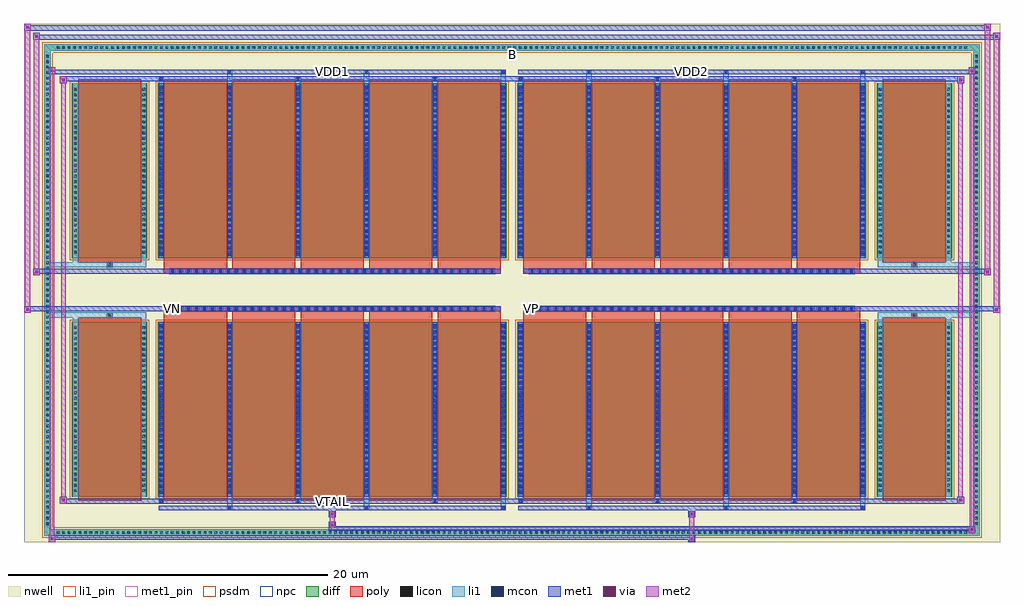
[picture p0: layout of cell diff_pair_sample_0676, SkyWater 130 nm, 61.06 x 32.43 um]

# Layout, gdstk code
import gdstk
lib = gdstk.Library(unit=1e-6, precision=5e-09)
def R(c, l, rs):  # rectangles x0, y0, x1, y1
    for r in rs: c.add(gdstk.rectangle(r[:2], r[2:], *l))
def A(c, l, x, y, w, h, nx, ny, dx, dy):  # array of equal rectangles
    R(c, l, [(x+i*dx, y+j*dy, x+i*dx+w, y+j*dy+h) for i in range(nx) for j in range(ny)])
def P(c, l, *ps):  # polygons
    for p in ps: c.add(gdstk.Polygon(p, *l))
nwell = (64, 20)
diff = (65, 20)
poly = (66, 20)
licon = (66, 44)
li1_pin = (67, 16)
li1 = (67, 20)
mcon = (67, 44)
met1_pin = (68, 16)
met1 = (68, 20)
via = (68, 44)
met2 = (69, 20)
psdm = (94, 20)
npc = (95, 20)

diff_pair_sample_0676 = lib.new_cell('diff_pair_sample_0676')
R(diff_pair_sample_0676, nwell, [(-30.53,-15.78,30.53,16.65), (-27.85,-13.97,-0.01,-0.805), (0.01,-13.97,27.85,-0.805), (-27.85,0.805,-0.01,13.97), (0.01,0.805,27.85,13.97)])
A(diff_pair_sample_0676, diff, -28.595, -15.38, 0.41, 0.41, 168, 2, 0.34, 30.35)
A(diff_pair_sample_0676, diff, -29.26, -14.825, 0.41, 0.41, 1, 87, 0, 0.34)
A(diff_pair_sample_0676, diff, 28.85, -14.825, 0.41, 0.41, 1, 87, 0, 0.34)
R(diff_pair_sample_0676, diff, [(-28.595,-15.38,28.595,-14.97), (-29.26,-14.825,-28.85,14.825), (28.85,-14.825,29.26,14.825), (-27.54,-12.925,-22.81,-1.985), (-22.17,-12.925,-0.32,-1.985), (0.32,-12.925,22.17,-1.985), (22.81,-12.925,27.54,-1.985), (-27.54,1.985,-22.81,12.925), (-22.17,1.985,-0.32,12.925), (0.32,1.985,22.17,12.925), (22.81,1.985,27.54,12.925), (-28.595,14.97,28.595,15.38)])
P(diff_pair_sample_0676, diff, [(29.26,15.38),(-29.26,15.38),(-29.26,-14.97),(-28.85,-14.97),(-28.85,14.97),(28.85,14.97),(28.85,-14.97),(-28.85,-14.97),(-29.26,-14.97),(-29.26,-15.38),(29.26,-15.38)])
A(diff_pair_sample_0676, poly, -21.78, -13.175, 3.95, 11.44, 5, 2, 4.28, 14.91)
A(diff_pair_sample_0676, poly, 0.71, -13.175, 3.95, 11.44, 5, 2, 4.28, 14.91)
A(diff_pair_sample_0676, poly, -21.78, -1.735, 3.95, 0.4, 5, 2, 4.28, 3.07)
A(diff_pair_sample_0676, poly, 0.71, -1.735, 3.95, 0.4, 5, 2, 4.28, 3.07)
A(diff_pair_sample_0676, poly, -21.41, -1.335, 0.33, 0.33, 41, 2, 0.5, 2.34)
A(diff_pair_sample_0676, poly, 1.08, -1.335, 0.33, 0.33, 41, 2, 0.5, 2.34)
R(diff_pair_sample_0676, poly, [(-27.15,-13.175,-23.2,-1.735), (23.2,-13.175,27.15,-1.735), (-25.34,-1.735,-25.01,-1.405), (-25.34,-1.735,-25.01,-1.405), (25.01,-1.735,25.34,-1.405), (25.01,-1.735,25.34,-1.405), (-21.78,-1.335,-0.71,-1.005), (0.71,-1.335,21.78,-1.005), (-21.78,1.005,-0.71,1.335), (0.71,1.005,21.78,1.335), (-25.34,1.405,-25.01,1.735), (-25.34,1.405,-25.01,1.735), (25.01,1.405,25.34,1.735), (25.01,1.405,25.34,1.735), (-27.15,1.735,-23.2,13.175), (23.2,1.735,27.15,13.175)])
A(diff_pair_sample_0676, licon, -28.475, -15.26, 0.17, 0.17, 168, 2, 0.34, 30.35)
A(diff_pair_sample_0676, licon, -29.14, -14.705, 0.17, 0.17, 1, 87, 0, 0.34)
A(diff_pair_sample_0676, licon, 28.97, -14.705, 0.17, 0.17, 1, 87, 0, 0.34)
A(diff_pair_sample_0676, licon, -27.4, -12.64, 0.17, 0.17, 1, 31, 0, 0.34)
A(diff_pair_sample_0676, licon, -23.12, -12.64, 0.17, 0.17, 1, 31, 0, 0.34)
A(diff_pair_sample_0676, licon, -22.03, -12.64, 0.17, 0.17, 6, 31, 4.28, 0.34)
A(diff_pair_sample_0676, licon, 0.46, -12.64, 0.17, 0.17, 6, 31, 4.28, 0.34)
A(diff_pair_sample_0676, licon, 22.95, -12.64, 0.17, 0.17, 1, 31, 0, 0.34)
A(diff_pair_sample_0676, licon, 27.23, -12.64, 0.17, 0.17, 1, 31, 0, 0.34)
A(diff_pair_sample_0676, licon, -21.33, -1.255, 0.17, 0.17, 41, 2, 0.5, 2.34)
A(diff_pair_sample_0676, licon, 1.16, -1.255, 0.17, 0.17, 41, 2, 0.5, 2.34)
A(diff_pair_sample_0676, licon, -27.4, 2.27, 0.17, 0.17, 1, 31, 0, 0.34)
A(diff_pair_sample_0676, licon, -23.12, 2.27, 0.17, 0.17, 1, 31, 0, 0.34)
A(diff_pair_sample_0676, licon, -22.03, 2.27, 0.17, 0.17, 6, 31, 4.28, 0.34)
A(diff_pair_sample_0676, licon, 0.46, 2.27, 0.17, 0.17, 6, 31, 4.28, 0.34)
A(diff_pair_sample_0676, licon, 22.95, 2.27, 0.17, 0.17, 1, 31, 0, 0.34)
A(diff_pair_sample_0676, licon, 27.23, 2.27, 0.17, 0.17, 1, 31, 0, 0.34)
R(diff_pair_sample_0676, licon, [(-25.26,-1.655,-25.09,-1.485), (25.09,-1.655,25.26,-1.485), (-25.26,1.485,-25.09,1.655), (25.09,1.485,25.26,1.655)])
R(diff_pair_sample_0676, li1_pin, [(-0.25,14.47,0.25,14.97)])
A(diff_pair_sample_0676, li1, -28.555, -15.34, 0.33, 0.33, 168, 2, 0.34, 30.35)
A(diff_pair_sample_0676, li1, -29.22, -14.785, 0.33, 0.33, 1, 87, 0, 0.34)
A(diff_pair_sample_0676, li1, 28.89, -14.785, 0.33, 0.33, 1, 87, 0, 0.34)
A(diff_pair_sample_0676, li1, -17.83, -13.73, 0.33, 0.805, 3, 2, 8.56, 26.655)
A(diff_pair_sample_0676, li1, -17.75, -13.73, 0.17, 0.17, 3, 2, 8.56, 27.29)
A(diff_pair_sample_0676, li1, 4.66, -13.73, 0.33, 0.805, 3, 2, 8.56, 26.655)
A(diff_pair_sample_0676, li1, 4.74, -13.73, 0.17, 0.17, 3, 2, 8.56, 27.29)
A(diff_pair_sample_0676, li1, -22.11, -13.3, 0.33, 0.375, 3, 2, 8.56, 26.225)
A(diff_pair_sample_0676, li1, -22.03, -13.3, 0.17, 0.17, 3, 2, 8.56, 26.43)
A(diff_pair_sample_0676, li1, 0.38, -13.3, 0.33, 0.375, 3, 2, 8.56, 26.225)
A(diff_pair_sample_0676, li1, 0.46, -13.3, 0.17, 0.17, 3, 2, 8.56, 26.43)
A(diff_pair_sample_0676, li1, -22.11, -12.925, 0.33, 10.94, 6, 2, 4.28, 14.91)
A(diff_pair_sample_0676, li1, 0.38, -12.925, 0.33, 10.94, 6, 2, 4.28, 14.91)
A(diff_pair_sample_0676, li1, -22.03, -12.76, 0.17, 0.17, 6, 30, 4.28, 0.36)
A(diff_pair_sample_0676, li1, -22.03, -12.76, 0.17, 10.61, 6, 2, 4.28, 14.91)
A(diff_pair_sample_0676, li1, 0.46, -12.76, 0.17, 0.17, 6, 30, 4.28, 0.36)
A(diff_pair_sample_0676, li1, 0.46, -12.76, 0.17, 10.61, 6, 2, 4.28, 14.91)
A(diff_pair_sample_0676, li1, -27.48, -12.72, 0.33, 0.33, 1, 31, 0, 0.34)
A(diff_pair_sample_0676, li1, -23.2, -12.72, 0.33, 0.33, 1, 31, 0, 0.34)
A(diff_pair_sample_0676, li1, -22.11, -12.72, 0.33, 0.33, 6, 31, 4.28, 0.34)
A(diff_pair_sample_0676, li1, 0.38, -12.72, 0.33, 0.33, 6, 31, 4.28, 0.34)
A(diff_pair_sample_0676, li1, 22.87, -12.72, 0.33, 0.33, 1, 31, 0, 0.34)
A(diff_pair_sample_0676, li1, 27.15, -12.72, 0.33, 0.33, 1, 31, 0, 0.34)
A(diff_pair_sample_0676, li1, -21.41, -1.335, 0.33, 0.33, 41, 2, 0.5, 2.34)
A(diff_pair_sample_0676, li1, 1.08, -1.335, 0.33, 0.33, 41, 2, 0.5, 2.34)
A(diff_pair_sample_0676, li1, -22.03, 2.15, 0.17, 0.17, 6, 30, 4.28, 0.36)
A(diff_pair_sample_0676, li1, 0.46, 2.15, 0.17, 0.17, 6, 30, 4.28, 0.36)
A(diff_pair_sample_0676, li1, -27.48, 2.19, 0.33, 0.33, 1, 31, 0, 0.34)
A(diff_pair_sample_0676, li1, -23.2, 2.19, 0.33, 0.33, 1, 31, 0, 0.34)
A(diff_pair_sample_0676, li1, -22.11, 2.19, 0.33, 0.33, 6, 31, 4.28, 0.34)
A(diff_pair_sample_0676, li1, 0.38, 2.19, 0.33, 0.33, 6, 31, 4.28, 0.34)
A(diff_pair_sample_0676, li1, 22.87, 2.19, 0.33, 0.33, 1, 31, 0, 0.34)
A(diff_pair_sample_0676, li1, 27.15, 2.19, 0.33, 0.33, 1, 31, 0, 0.34)
R(diff_pair_sample_0676, li1, [(-29.26,-15.38,-28.85,-14.97), (-29.26,-15.38,-28.85,-14.97), (-28.85,-15.38,28.85,-14.97), (28.85,-15.38,29.26,-14.97), (28.85,-15.38,29.26,-14.97), (-29.26,-14.97,-28.85,14.97), (28.85,-14.97,29.26,14.97), (-27.48,-12.925,-27.15,-1.985), (-23.2,-12.925,-22.87,-1.985), (22.87,-12.925,23.2,-1.985), (27.15,-12.925,27.48,-1.985), (-27.48,-1.985,-27.15,-1.405), (-23.2,-1.985,-22.87,-1.405), (22.87,-1.985,23.2,-1.405), (27.15,-1.985,27.48,-1.405), (-29.26,-1.735,-25.34,-1.405), (-27.48,-1.735,-25.34,-1.405), (-25.34,-1.735,-25.01,-1.405), (-25.01,-1.735,-22.87,-1.405), (22.87,-1.735,25.01,-1.405), (25.01,-1.735,25.34,-1.405), (25.01,-1.735,29.26,-1.405), (25.34,-1.735,27.48,-1.405), (-29.26,1.405,-25.34,1.735), (-27.48,1.405,-25.34,1.735), (-27.48,1.405,-27.15,1.985), (-25.34,1.405,-25.01,1.735), (-25.01,1.405,-22.87,1.735), (-23.2,1.405,-22.87,1.985), (22.87,1.405,25.01,1.735), (22.87,1.405,23.2,1.985), (25.01,1.405,25.34,1.735), (25.01,1.405,29.26,1.735), (25.34,1.405,27.48,1.735), (27.15,1.405,27.48,1.985), (-27.48,1.985,-27.15,12.925), (-23.2,1.985,-22.87,12.925), (22.87,1.985,23.2,12.925), (27.15,1.985,27.48,12.925), (-29.26,14.97,-28.85,15.38), (-29.26,14.97,-28.85,15.38), (-28.85,14.97,28.85,15.38), (28.85,14.97,29.26,15.38), (28.85,14.97,29.26,15.38)])
A(diff_pair_sample_0676, mcon, -17.75, -13.73, 0.17, 0.17, 3, 2, 8.56, 27.29)
A(diff_pair_sample_0676, mcon, 4.74, -13.73, 0.17, 0.17, 3, 2, 8.56, 27.29)
A(diff_pair_sample_0676, mcon, -22.03, -13.3, 0.17, 0.17, 3, 2, 8.56, 26.43)
A(diff_pair_sample_0676, mcon, 0.46, -13.3, 0.17, 0.17, 3, 2, 8.56, 26.43)
A(diff_pair_sample_0676, mcon, -22.03, -12.76, 0.17, 0.17, 6, 30, 4.28, 0.36)
A(diff_pair_sample_0676, mcon, 0.46, -12.76, 0.17, 0.17, 6, 30, 4.28, 0.36)
A(diff_pair_sample_0676, mcon, -21.33, -1.255, 0.17, 0.17, 41, 2, 0.5, 2.34)
A(diff_pair_sample_0676, mcon, 1.16, -1.255, 0.17, 0.17, 41, 2, 0.5, 2.34)
A(diff_pair_sample_0676, mcon, -22.03, 2.15, 0.17, 0.17, 6, 30, 4.28, 0.36)
A(diff_pair_sample_0676, mcon, 0.46, 2.15, 0.17, 0.17, 6, 30, 4.28, 0.36)
R(diff_pair_sample_0676, met1_pin, [(-11.38,-13.34,-11.11,-13.07), (-21.38,-1.295,-21.11,-1.025), (1.11,-1.295,1.38,-1.025), (-11.38,13.52,-11.11,13.79), (11.11,13.52,11.38,13.79)])
A(diff_pair_sample_0676, met1, -17.81, -13.79, 0.29, 0.29, 3, 2, 8.56, 27.29)
A(diff_pair_sample_0676, met1, 4.68, -13.79, 0.29, 0.29, 3, 2, 8.56, 27.29)
A(diff_pair_sample_0676, met1, -22.09, -13.36, 0.29, 0.29, 3, 2, 8.56, 26.43)
A(diff_pair_sample_0676, met1, 0.4, -13.36, 0.29, 0.29, 3, 2, 8.56, 26.43)
A(diff_pair_sample_0676, met1, -22.09, -12.925, 0.29, 10.94, 6, 2, 4.28, 14.91)
A(diff_pair_sample_0676, met1, 0.4, -12.925, 0.29, 10.94, 6, 2, 4.28, 14.91)
A(diff_pair_sample_0676, met1, -22.09, -12.82, 0.29, 0.29, 6, 30, 4.28, 0.36)
A(diff_pair_sample_0676, met1, 0.4, -12.82, 0.29, 0.29, 6, 30, 4.28, 0.36)
A(diff_pair_sample_0676, met1, -21.39, -1.315, 0.29, 0.29, 41, 2, 0.5, 2.34)
A(diff_pair_sample_0676, met1, 1.1, -1.315, 0.29, 0.29, 41, 2, 0.5, 2.34)
A(diff_pair_sample_0676, met1, -22.09, 2.09, 0.29, 0.29, 6, 30, 4.28, 0.36)
A(diff_pair_sample_0676, met1, 0.4, 2.09, 0.29, 0.29, 6, 30, 4.28, 0.36)
R(diff_pair_sample_0676, met1, [(-28.99,-15.78,-28.56,-15.35), (11.03,-15.78,11.46,-15.35), (-28.99,-15.64,11.46,-15.35), (28.56,-15.21,28.99,-14.78), (-11.46,-15.07,28.99,-14.78), (-11.46,-14.93,-11.03,-14.5), (-11.46,-14.22,-11.03,-13.79), (11.03,-14.22,11.46,-13.79), (-22.09,-13.79,-0.4,-13.5), (0.4,-13.79,22.09,-13.5), (-28.28,-13.36,-27.85,-12.93), (-28.28,-13.36,-22.09,-13.07), (-22.09,-13.36,-0.4,-13.07), (-0.4,-13.36,0.4,-13.07), (0.4,-13.36,22.09,-13.07), (22.09,-13.36,28.28,-13.07), (27.85,-13.36,28.28,-12.93), (-30.53,-1.435,-30.1,-1.005), (30.1,-1.435,30.53,-1.005), (-30.53,-1.335,-0.71,-1.005), (-21.78,-1.335,-0.71,-1.005), (0.71,-1.335,21.78,-1.005), (0.71,-1.335,30.53,-1.005), (-29.96,0.905,-29.53,1.335), (29.53,0.905,29.96,1.335), (-29.96,1.005,-21.78,1.335), (-21.78,1.005,-0.71,1.335), (0.71,1.005,21.78,1.335), (21.78,1.005,29.96,1.335), (-28.28,12.93,-27.85,13.36), (27.85,12.93,28.28,13.36), (-28.28,13.07,-22.09,13.36), (-22.09,13.07,-0.4,13.36), (-0.4,13.07,0.4,13.36), (0.4,13.07,22.09,13.36), (22.09,13.07,28.28,13.36), (-28.99,13.5,-28.56,13.93), (-28.99,13.5,-22.09,13.79), (-22.09,13.5,-0.4,13.79), (0.4,13.5,22.09,13.79), (22.09,13.5,28.99,13.79), (28.56,13.5,28.99,13.93), (-29.96,15.65,-29.53,16.08), (-29.96,15.65,-27.85,15.98), (-27.85,15.65,27.85,15.98), (27.85,15.65,30.53,15.98), (30.1,15.65,30.53,16.08), (-30.53,16.22,-30.1,16.65), (-30.53,16.22,-27.85,16.55), (-27.85,16.22,27.85,16.55), (27.85,16.22,29.96,16.55), (29.53,16.22,29.96,16.65)])
R(diff_pair_sample_0676, via, [(-28.85,-15.64,-28.7,-15.49), (11.17,-15.64,11.32,-15.49), (28.7,-15.07,28.85,-14.92), (-11.32,-14.79,-11.17,-14.64), (-11.32,-14.08,-11.17,-13.93), (11.17,-14.08,11.32,-13.93), (-28.14,-13.22,-27.99,-13.07), (27.99,-13.22,28.14,-13.07), (-30.39,-1.295,-30.24,-1.145), (30.24,-1.295,30.39,-1.145), (-29.82,1.045,-29.67,1.195), (29.67,1.045,29.82,1.195), (-28.14,13.07,-27.99,13.22), (27.99,13.07,28.14,13.22), (-28.85,13.64,-28.7,13.79), (28.7,13.64,28.85,13.79), (-29.82,15.79,-29.67,15.94), (30.24,15.79,30.39,15.94), (-30.39,16.36,-30.24,16.51), (29.67,16.36,29.82,16.51)])
R(diff_pair_sample_0676, met2, [(-28.99,-15.78,-28.56,-15.35), (-28.92,-15.78,-28.63,13.93), (-28.63,-15.78,-28.56,-15.35), (-28.94,-15.73,-28.61,-15.4), (11.08,-15.73,11.41,-15.4), (11.08,-15.4,11.41,-14.17), (28.56,-15.21,28.99,-14.78), (28.63,-15.21,28.92,13.93), (28.92,-15.21,28.99,-14.78), (28.61,-15.16,28.94,-14.83), (-11.41,-14.88,-11.08,-14.55), (-11.41,-14.55,-11.08,-14.17), (-11.41,-14.17,-11.08,-13.84), (11.08,-14.17,11.41,-13.84), (-28.28,-13.36,-27.85,-12.93), (-28.21,-13.36,-27.92,13.36), (-27.92,-13.36,-27.85,-12.93), (27.85,-13.36,28.28,-12.93), (27.92,-13.36,28.21,13.36), (28.21,-13.36,28.28,-12.93), (-28.23,-13.31,-27.9,-12.98), (27.9,-13.31,28.23,-12.98), (-30.53,-1.435,-30.1,-1.005), (-30.48,-1.435,-30.15,16.65), (-30.15,-1.435,-30.1,-1.005), (30.1,-1.435,30.53,-1.005), (30.15,-1.435,30.48,16.08), (30.48,-1.435,30.53,-1.005), (-30.48,-1.385,-30.15,-1.055), (30.15,-1.385,30.48,-1.055), (-29.96,0.905,-29.53,1.335), (-29.91,0.905,-29.58,16.08), (-29.58,0.905,-29.53,1.335), (29.53,0.905,29.96,1.335), (29.58,0.905,29.91,16.65), (29.91,0.905,29.96,1.335), (-29.91,0.955,-29.58,1.285), (29.58,0.955,29.91,1.285), (-28.28,12.93,-27.85,13.36), (-27.92,12.93,-27.85,13.36), (27.85,12.93,28.28,13.36), (28.21,12.93,28.28,13.36), (-28.23,12.98,-27.9,13.31), (27.9,12.98,28.23,13.31), (-28.99,13.5,-28.56,13.93), (-28.63,13.5,-28.56,13.93), (28.56,13.5,28.99,13.93), (28.92,13.5,28.99,13.93), (-28.94,13.55,-28.61,13.88), (28.61,13.55,28.94,13.88), (-29.96,15.65,-29.53,16.08), (-29.58,15.65,-29.53,16.08), (30.1,15.65,30.53,16.08), (30.48,15.65,30.53,16.08), (-29.91,15.7,-29.58,16.03), (30.15,15.7,30.48,16.03), (-30.53,16.22,-30.1,16.65), (-30.15,16.22,-30.1,16.65), (29.53,16.22,29.96,16.65), (29.91,16.22,29.96,16.65), (-30.48,16.27,-30.15,16.6), (29.58,16.27,29.91,16.6)])
R(diff_pair_sample_0676, psdm, [(-27.67,-13.055,-22.68,-1.855), (-22.3,-13.055,-0.19,-1.855), (0.19,-13.055,22.3,-1.855), (22.68,-13.055,27.67,-1.855), (-27.67,1.855,-22.68,13.055), (-22.3,1.855,-0.19,13.055), (0.19,1.855,22.3,13.055), (22.68,1.855,27.67,13.055)])
P(diff_pair_sample_0676, psdm, [(29.39,15.51),(-29.39,15.51),(-29.39,-14.84),(-28.72,-14.84),(-28.72,14.84),(28.72,14.84),(28.72,-14.84),(-28.72,-14.84),(-29.39,-14.84),(-29.39,-15.51),(29.39,-15.51)])
A(diff_pair_sample_0676, npc, -21.43, -1.355, 0.37, 0.37, 41, 2, 0.5, 2.34)
A(diff_pair_sample_0676, npc, 1.06, -1.355, 0.37, 0.37, 41, 2, 0.5, 2.34)
R(diff_pair_sample_0676, npc, [(-25.36,-1.755,-24.99,-1.385), (24.99,-1.755,25.36,-1.385), (-21.43,-1.355,-20.56,-0.985), (-21.43,-1.355,-20.56,-0.985), (-20.93,-1.355,-20.06,-0.985), (-20.93,-1.355,-20.06,-0.985), (-20.43,-1.355,-19.56,-0.985), (-20.43,-1.355,-19.56,-0.985), (-19.93,-1.355,-19.06,-0.985), (-19.93,-1.355,-19.06,-0.985), (-19.43,-1.355,-18.56,-0.985), (-19.43,-1.355,-18.56,-0.985), (-18.93,-1.355,-18.06,-0.985), (-18.93,-1.355,-18.06,-0.985), (-18.43,-1.355,-17.56,-0.985), (-18.43,-1.355,-17.56,-0.985), (-17.93,-1.355,-17.06,-0.985), (-17.93,-1.355,-17.06,-0.985), (-17.43,-1.355,-16.56,-0.985), (-17.43,-1.355,-16.56,-0.985), (-16.93,-1.355,-16.06,-0.985), (-16.93,-1.355,-16.06,-0.985), (-16.43,-1.355,-15.56,-0.985), (-16.43,-1.355,-15.56,-0.985), (-15.93,-1.355,-15.06,-0.985), (-15.93,-1.355,-15.06,-0.985), (-15.43,-1.355,-14.56,-0.985), (-15.43,-1.355,-14.56,-0.985), (-14.93,-1.355,-14.06,-0.985), (-14.93,-1.355,-14.06,-0.985), (-14.43,-1.355,-13.56,-0.985), (-14.43,-1.355,-13.56,-0.985), (-13.93,-1.355,-13.06,-0.985), (-13.93,-1.355,-13.06,-0.985), (-13.43,-1.355,-12.56,-0.985), (-13.43,-1.355,-12.56,-0.985), (-12.93,-1.355,-12.06,-0.985), (-12.93,-1.355,-12.06,-0.985), (-12.43,-1.355,-11.56,-0.985), (-12.43,-1.355,-11.56,-0.985), (-11.93,-1.355,-11.06,-0.985), (-11.93,-1.355,-11.06,-0.985), (-11.43,-1.355,-10.56,-0.985), (-11.43,-1.355,-10.56,-0.985), (-10.93,-1.355,-10.06,-0.985), (-10.93,-1.355,-10.06,-0.985), (-10.43,-1.355,-9.56,-0.985), (-10.43,-1.355,-9.56,-0.985), (-9.93,-1.355,-9.06,-0.985), (-9.93,-1.355,-9.06,-0.985), (-9.43,-1.355,-8.56,-0.985), (-9.43,-1.355,-8.56,-0.985), (-8.93,-1.355,-8.06,-0.985), (-8.93,-1.355,-8.06,-0.985), (-8.43,-1.355,-7.56,-0.985), (-8.43,-1.355,-7.56,-0.985), (-7.93,-1.355,-7.06,-0.985), (-7.93,-1.355,-7.06,-0.985), (-7.43,-1.355,-6.56,-0.985), (-7.43,-1.355,-6.56,-0.985), (-6.93,-1.355,-6.06,-0.985), (-6.93,-1.355,-6.06,-0.985), (-6.43,-1.355,-5.56,-0.985), (-6.43,-1.355,-5.56,-0.985), (-5.93,-1.355,-5.06,-0.985), (-5.93,-1.355,-5.06,-0.985), (-5.43,-1.355,-4.56,-0.985), (-5.43,-1.355,-4.56,-0.985), (-4.93,-1.355,-4.06,-0.985), (-4.93,-1.355,-4.06,-0.985), (-4.43,-1.355,-3.56,-0.985), (-4.43,-1.355,-3.56,-0.985), (-3.93,-1.355,-3.06,-0.985), (-3.93,-1.355,-3.06,-0.985), (-3.43,-1.355,-2.56,-0.985), (-3.43,-1.355,-2.56,-0.985), (-2.93,-1.355,-2.06,-0.985), (-2.93,-1.355,-2.06,-0.985), (-2.43,-1.355,-1.56,-0.985), (-2.43,-1.355,-1.56,-0.985), (-1.93,-1.355,-1.06,-0.985), (-1.93,-1.355,-1.06,-0.985), (1.06,-1.355,1.93,-0.985), (1.06,-1.355,1.93,-0.985), (1.56,-1.355,2.43,-0.985), (1.56,-1.355,2.43,-0.985), (2.06,-1.355,2.93,-0.985), (2.06,-1.355,2.93,-0.985), (2.56,-1.355,3.43,-0.985), (2.56,-1.355,3.43,-0.985), (3.06,-1.355,3.93,-0.985), (3.06,-1.355,3.93,-0.985), (3.56,-1.355,4.43,-0.985), (3.56,-1.355,4.43,-0.985), (4.06,-1.355,4.93,-0.985), (4.06,-1.355,4.93,-0.985), (4.56,-1.355,5.43,-0.985), (4.56,-1.355,5.43,-0.985), (5.06,-1.355,5.93,-0.985), (5.06,-1.355,5.93,-0.985), (5.56,-1.355,6.43,-0.985), (5.56,-1.355,6.43,-0.985), (6.06,-1.355,6.93,-0.985), (6.06,-1.355,6.93,-0.985), (6.56,-1.355,7.43,-0.985), (6.56,-1.355,7.43,-0.985), (7.06,-1.355,7.93,-0.985), (7.06,-1.355,7.93,-0.985), (7.56,-1.355,8.43,-0.985), (7.56,-1.355,8.43,-0.985), (8.06,-1.355,8.93,-0.985), (8.06,-1.355,8.93,-0.985), (8.56,-1.355,9.43,-0.985), (8.56,-1.355,9.43,-0.985), (9.06,-1.355,9.93,-0.985), (9.06,-1.355,9.93,-0.985), (9.56,-1.355,10.43,-0.985), (9.56,-1.355,10.43,-0.985), (10.06,-1.355,10.93,-0.985), (10.06,-1.355,10.93,-0.985), (10.56,-1.355,11.43,-0.985), (10.56,-1.355,11.43,-0.985), (11.06,-1.355,11.93,-0.985), (11.06,-1.355,11.93,-0.985), (11.56,-1.355,12.43,-0.985), (11.56,-1.355,12.43,-0.985), (12.06,-1.355,12.93,-0.985), (12.06,-1.355,12.93,-0.985), (12.56,-1.355,13.43,-0.985), (12.56,-1.355,13.43,-0.985), (13.06,-1.355,13.93,-0.985), (13.06,-1.355,13.93,-0.985), (13.56,-1.355,14.43,-0.985), (13.56,-1.355,14.43,-0.985), (14.06,-1.355,14.93,-0.985), (14.06,-1.355,14.93,-0.985), (14.56,-1.355,15.43,-0.985), (14.56,-1.355,15.43,-0.985), (15.06,-1.355,15.93,-0.985), (15.06,-1.355,15.93,-0.985), (15.56,-1.355,16.43,-0.985), (15.56,-1.355,16.43,-0.985), (16.06,-1.355,16.93,-0.985), (16.06,-1.355,16.93,-0.985), (16.56,-1.355,17.43,-0.985), (16.56,-1.355,17.43,-0.985), (17.06,-1.355,17.93,-0.985), (17.06,-1.355,17.93,-0.985), (17.56,-1.355,18.43,-0.985), (17.56,-1.355,18.43,-0.985), (18.06,-1.355,18.93,-0.985), (18.06,-1.355,18.93,-0.985), (18.56,-1.355,19.43,-0.985), (18.56,-1.355,19.43,-0.985), (19.06,-1.355,19.93,-0.985), (19.06,-1.355,19.93,-0.985), (19.56,-1.355,20.43,-0.985), (19.56,-1.355,20.43,-0.985), (20.06,-1.355,20.93,-0.985), (20.06,-1.355,20.93,-0.985), (20.56,-1.355,21.43,-0.985), (20.56,-1.355,21.43,-0.985), (-21.43,0.985,-20.56,1.355), (-21.43,0.985,-20.56,1.355), (-20.93,0.985,-20.06,1.355), (-20.93,0.985,-20.06,1.355), (-20.43,0.985,-19.56,1.355), (-20.43,0.985,-19.56,1.355), (-19.93,0.985,-19.06,1.355), (-19.93,0.985,-19.06,1.355), (-19.43,0.985,-18.56,1.355), (-19.43,0.985,-18.56,1.355), (-18.93,0.985,-18.06,1.355), (-18.93,0.985,-18.06,1.355), (-18.43,0.985,-17.56,1.355), (-18.43,0.985,-17.56,1.355), (-17.93,0.985,-17.06,1.355), (-17.93,0.985,-17.06,1.355), (-17.43,0.985,-16.56,1.355), (-17.43,0.985,-16.56,1.355), (-16.93,0.985,-16.06,1.355), (-16.93,0.985,-16.06,1.355), (-16.43,0.985,-15.56,1.355), (-16.43,0.985,-15.56,1.355), (-15.93,0.985,-15.06,1.355), (-15.93,0.985,-15.06,1.355), (-15.43,0.985,-14.56,1.355), (-15.43,0.985,-14.56,1.355), (-14.93,0.985,-14.06,1.355), (-14.93,0.985,-14.06,1.355), (-14.43,0.985,-13.56,1.355), (-14.43,0.985,-13.56,1.355), (-13.93,0.985,-13.06,1.355), (-13.93,0.985,-13.06,1.355), (-13.43,0.985,-12.56,1.355), (-13.43,0.985,-12.56,1.355), (-12.93,0.985,-12.06,1.355), (-12.93,0.985,-12.06,1.355), (-12.43,0.985,-11.56,1.355), (-12.43,0.985,-11.56,1.355), (-11.93,0.985,-11.06,1.355), (-11.93,0.985,-11.06,1.355), (-11.43,0.985,-10.56,1.355), (-11.43,0.985,-10.56,1.355), (-10.93,0.985,-10.06,1.355), (-10.93,0.985,-10.06,1.355), (-10.43,0.985,-9.56,1.355), (-10.43,0.985,-9.56,1.355), (-9.93,0.985,-9.06,1.355), (-9.93,0.985,-9.06,1.355), (-9.43,0.985,-8.56,1.355), (-9.43,0.985,-8.56,1.355), (-8.93,0.985,-8.06,1.355), (-8.93,0.985,-8.06,1.355), (-8.43,0.985,-7.56,1.355), (-8.43,0.985,-7.56,1.355), (-7.93,0.985,-7.06,1.355), (-7.93,0.985,-7.06,1.355), (-7.43,0.985,-6.56,1.355), (-7.43,0.985,-6.56,1.355), (-6.93,0.985,-6.06,1.355), (-6.93,0.985,-6.06,1.355), (-6.43,0.985,-5.56,1.355), (-6.43,0.985,-5.56,1.355), (-5.93,0.985,-5.06,1.355), (-5.93,0.985,-5.06,1.355), (-5.43,0.985,-4.56,1.355), (-5.43,0.985,-4.56,1.355), (-4.93,0.985,-4.06,1.355), (-4.93,0.985,-4.06,1.355), (-4.43,0.985,-3.56,1.355), (-4.43,0.985,-3.56,1.355), (-3.93,0.985,-3.06,1.355), (-3.93,0.985,-3.06,1.355), (-3.43,0.985,-2.56,1.355), (-3.43,0.985,-2.56,1.355), (-2.93,0.985,-2.06,1.355), (-2.93,0.985,-2.06,1.355), (-2.43,0.985,-1.56,1.355), (-2.43,0.985,-1.56,1.355), (-1.93,0.985,-1.06,1.355), (-1.93,0.985,-1.06,1.355), (1.06,0.985,1.93,1.355), (1.06,0.985,1.93,1.355), (1.56,0.985,2.43,1.355), (1.56,0.985,2.43,1.355), (2.06,0.985,2.93,1.355), (2.06,0.985,2.93,1.355), (2.56,0.985,3.43,1.355), (2.56,0.985,3.43,1.355), (3.06,0.985,3.93,1.355), (3.06,0.985,3.93,1.355), (3.56,0.985,4.43,1.355), (3.56,0.985,4.43,1.355), (4.06,0.985,4.93,1.355), (4.06,0.985,4.93,1.355), (4.56,0.985,5.43,1.355), (4.56,0.985,5.43,1.355), (5.06,0.985,5.93,1.355), (5.06,0.985,5.93,1.355), (5.56,0.985,6.43,1.355), (5.56,0.985,6.43,1.355), (6.06,0.985,6.93,1.355), (6.06,0.985,6.93,1.355), (6.56,0.985,7.43,1.355), (6.56,0.985,7.43,1.355), (7.06,0.985,7.93,1.355), (7.06,0.985,7.93,1.355), (7.56,0.985,8.43,1.355), (7.56,0.985,8.43,1.355), (8.06,0.985,8.93,1.355), (8.06,0.985,8.93,1.355), (8.56,0.985,9.43,1.355), (8.56,0.985,9.43,1.355), (9.06,0.985,9.93,1.355), (9.06,0.985,9.93,1.355), (9.56,0.985,10.43,1.355), (9.56,0.985,10.43,1.355), (10.06,0.985,10.93,1.355), (10.06,0.985,10.93,1.355), (10.56,0.985,11.43,1.355), (10.56,0.985,11.43,1.355), (11.06,0.985,11.93,1.355), (11.06,0.985,11.93,1.355), (11.56,0.985,12.43,1.355), (11.56,0.985,12.43,1.355), (12.06,0.985,12.93,1.355), (12.06,0.985,12.93,1.355), (12.56,0.985,13.43,1.355), (12.56,0.985,13.43,1.355), (13.06,0.985,13.93,1.355), (13.06,0.985,13.93,1.355), (13.56,0.985,14.43,1.355), (13.56,0.985,14.43,1.355), (14.06,0.985,14.93,1.355), (14.06,0.985,14.93,1.355), (14.56,0.985,15.43,1.355), (14.56,0.985,15.43,1.355), (15.06,0.985,15.93,1.355), (15.06,0.985,15.93,1.355), (15.56,0.985,16.43,1.355), (15.56,0.985,16.43,1.355), (16.06,0.985,16.93,1.355), (16.06,0.985,16.93,1.355), (16.56,0.985,17.43,1.355), (16.56,0.985,17.43,1.355), (17.06,0.985,17.93,1.355), (17.06,0.985,17.93,1.355), (17.56,0.985,18.43,1.355), (17.56,0.985,18.43,1.355), (18.06,0.985,18.93,1.355), (18.06,0.985,18.93,1.355), (18.56,0.985,19.43,1.355), (18.56,0.985,19.43,1.355), (19.06,0.985,19.93,1.355), (19.06,0.985,19.93,1.355), (19.56,0.985,20.43,1.355), (19.56,0.985,20.43,1.355), (20.06,0.985,20.93,1.355), (20.06,0.985,20.93,1.355), (20.56,0.985,21.43,1.355), (20.56,0.985,21.43,1.355), (-25.36,1.385,-24.99,1.755), (24.99,1.385,25.36,1.755)])
diff_pair_sample_0676.add(gdstk.Label('VTAIL', (-11.245,-13.205), layer=68, texttype=5))
diff_pair_sample_0676.add(gdstk.Label('VN', (-21.245,-1.16), layer=68, texttype=5))
diff_pair_sample_0676.add(gdstk.Label('VP', (1.245,-1.16), layer=68, texttype=5))
diff_pair_sample_0676.add(gdstk.Label('B', (0,14.72), layer=67, texttype=5))
diff_pair_sample_0676.add(gdstk.Label('VDD2', (11.245,13.655), layer=68, texttype=5))
diff_pair_sample_0676.add(gdstk.Label('VDD1', (-11.245,13.655), layer=68, texttype=5))

lib.write_gds('diff_pair_sample_0676.gds')
